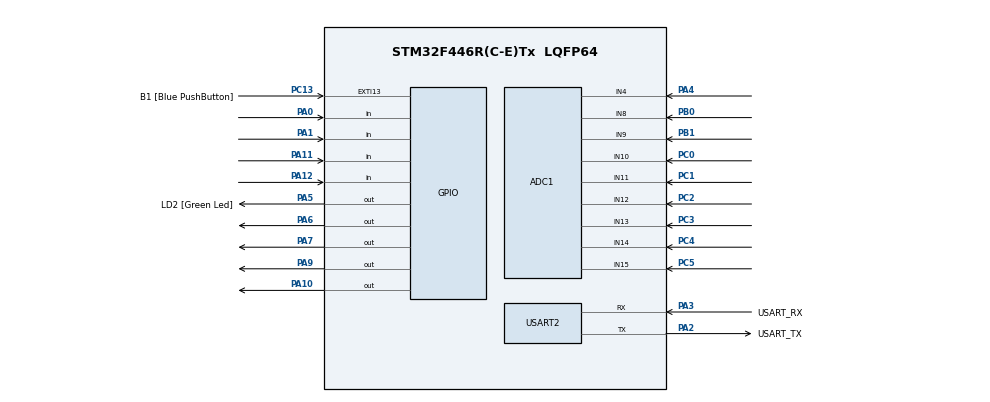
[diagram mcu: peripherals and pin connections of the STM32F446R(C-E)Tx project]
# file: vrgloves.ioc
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ADC1.Channel-0\#ChannelRegularConversion=ADC_CHANNEL_4
ADC1.Channel-1\#ChannelRegularConversion=ADC_CHANNEL_8
ADC1.Channel-2\#ChannelRegularConversion=ADC_CHANNEL_9
ADC1.Channel-3\#ChannelRegularConversion=ADC_CHANNEL_10
ADC1.Channel-4\#ChannelRegularConversion=ADC_CHANNEL_11
ADC1.Channel-5\#ChannelRegularConversion=ADC_CHANNEL_12
ADC1.Channel-6\#ChannelRegularConversion=ADC_CHANNEL_13
ADC1.Channel-7\#ChannelRegularConversion=ADC_CHANNEL_14
ADC1.Channel-8\#ChannelRegularConversion=ADC_CHANNEL_15
ADC1.ContinuousConvMode=DISABLE
ADC1.NbrOfConversion=9
ADC1.NbrOfConversionFlag=1
ADC1.Rank-0\#ChannelRegularConversion=1
ADC1.Rank-1\#ChannelRegularConversion=2
ADC1.Rank-2\#ChannelRegularConversion=3
ADC1.Rank-3\#ChannelRegularConversion=4
ADC1.Rank-4\#ChannelRegularConversion=5
ADC1.Rank-5\#ChannelRegularConversion=6
ADC1.Rank-6\#ChannelRegularConversion=7
ADC1.Rank-7\#ChannelRegularConversion=8
ADC1.Rank-8\#ChannelRegularConversion=9
ADC1.SamplingTime-0\#ChannelRegularConversion=ADC_SAMPLETIME_480CYCLES
ADC1.SamplingTime-1\#ChannelRegularConversion=ADC_SAMPLETIME_480CYCLES
ADC1.SamplingTime-2\#ChannelRegularConversion=ADC_SAMPLETIME_480CYCLES
ADC1.SamplingTime-3\#ChannelRegularConversion=ADC_SAMPLETIME_480CYCLES
ADC1.SamplingTime-4\#ChannelRegularConversion=ADC_SAMPLETIME_480CYCLES
ADC1.SamplingTime-5\#ChannelRegularConversion=ADC_SAMPLETIME_480CYCLES
ADC1.SamplingTime-6\#ChannelRegularConversion=ADC_SAMPLETIME_480CYCLES
ADC1.SamplingTime-7\#ChannelRegularConversion=ADC_SAMPLETIME_480CYCLES
ADC1.SamplingTime-8\#ChannelRegularConversion=ADC_SAMPLETIME_480CYCLES
ADC1.ScanConvMode=ENABLE
ADC1.master=1
Dma.ADC1.0.Direction=DMA_PERIPH_TO_MEMORY
Dma.ADC1.0.FIFOMode=DMA_FIFOMODE_DISABLE
Dma.ADC1.0.Instance=DMA2_Stream0
Dma.ADC1.0.MemDataAlignment=DMA_MDATAALIGN_HALFWORD
Dma.ADC1.0.MemInc=DMA_MINC_ENABLE
Dma.ADC1.0.Mode=DMA_CIRCULAR
Dma.ADC1.0.PeriphDataAlignment=DMA_PDATAALIGN_HALFWORD
Dma.ADC1.0.PeriphInc=DMA_PINC_DISABLE
Dma.ADC1.0.Priority=DMA_PRIORITY_LOW
Dma.Request0=ADC1
Mcu.Family=STM32F4
Mcu.Name=STM32F446R(C-E)Tx
Mcu.Package=LQFP64
NVIC.ADC_IRQn=true\:0\:0\:false\:false\:true\:true\:true\:true
NVIC.DMA2_Stream0_IRQn=true\:0\:0\:false\:false\:true\:false\:true\:true
NVIC.PriorityGroup=NVIC_PRIORITYGROUP_0
NVIC.TIM6_DAC_IRQn=true\:0\:0\:false\:false\:true\:true\:true\:true
NVIC.USART2_IRQn=true\:0\:0\:false\:false\:true\:true\:true\:true
PA0-WKUP.Signal=GPIO_Input
PA1.Signal=GPIO_Input
PA10.Signal=GPIO_Output
PA11.Signal=GPIO_Input
PA12.Signal=GPIO_Input
PA13.GPIO_Label=TMS
PA13.Mode=Serial_Wire
PA13.Signal=SYS_JTMS-SWDIO
PA14.GPIO_Label=TCK
PA14.Mode=Serial_Wire
PA14.Signal=SYS_JTCK-SWCLK
PA2.GPIO_Label=USART_TX
PA2.Mode=Asynchronous
PA2.Signal=USART2_TX
PA3.GPIO_Label=USART_RX
PA3.Mode=Asynchronous
PA3.Signal=USART2_RX
PA4.Signal=ADCx_IN4
PA5.GPIO_Label=LD2 [Green Led]
PA5.Signal=GPIO_Output
PA6.Signal=GPIO_Output
PA7.Signal=GPIO_Output
PA9.Signal=GPIO_Output
PB0.Signal=ADCx_IN8
PB1.Signal=ADCx_IN9
PB3.GPIO_Label=SWO
PB3.Signal=SYS_JTDO-SWO
PC0.Signal=ADCx_IN10
PC1.Signal=ADCx_IN11
PC13.GPIO_Label=B1 [Blue PushButton]
PC13.GPIO_ModeDefaultEXTI=GPIO_MODE_IT_FALLING
PC13.Signal=GPXTI13
PC14-OSC32_IN.Mode=LSE-External-Oscillator
PC14-OSC32_IN.Signal=RCC_OSC32_IN
PC15-OSC32_OUT.Mode=LSE-External-Oscillator
PC15-OSC32_OUT.Signal=RCC_OSC32_OUT
PC2.Signal=ADCx_IN12
PC3.Signal=ADCx_IN13
PC4.Signal=ADCx_IN14
PC5.Signal=ADCx_IN15
PH0-OSC_IN.Mode=HSE-External-Oscillator
PH0-OSC_IN.Signal=RCC_OSC_IN
PH1-OSC_OUT.Mode=HSE-External-Oscillator
PH1-OSC_OUT.Signal=RCC_OSC_OUT
ProjectManager.HeapSize=0x200
ProjectManager.StackSize=0x400
ProjectManager.TargetToolchain=STM32CubeIDE
RCC.48MHZClocksFreq_Value=84000000
RCC.AHBFreq_Value=84000000
RCC.APB1CLKDivider=RCC_HCLK_DIV2
RCC.APB1Freq_Value=42000000
RCC.APB1TimFreq_Value=84000000
RCC.APB2Freq_Value=84000000
RCC.APB2TimFreq_Value=84000000
RCC.CortexFreq_Value=84000000
RCC.FLatency-AdvancedSettings=FLASH_LATENCY_2
RCC.HCLKFreq_Value=84000000
RCC.HSE_VALUE=8000000
RCC.HSI_VALUE=16000000
RCC.PLLN=336
RCC.PLLP=RCC_PLLP_DIV4
RCC.SYSCLKFreq_VALUE=84000000
RCC.SYSCLKSource=RCC_SYSCLKSOURCE_PLLCLK
RCC.USBFreq_Value=168000000
RCC.VCOOutputFreq_Value=336000000
SH.ADCx_IN10.0=ADC1_IN10,IN10
SH.ADCx_IN11.0=ADC1_IN11,IN11
SH.ADCx_IN12.0=ADC1_IN12,IN12
SH.ADCx_IN13.0=ADC1_IN13,IN13
SH.ADCx_IN14.0=ADC1_IN14,IN14
SH.ADCx_IN15.0=ADC1_IN15,IN15
SH.ADCx_IN4.0=ADC1_IN4,IN4
SH.ADCx_IN8.0=ADC1_IN8,IN8
SH.ADCx_IN9.0=ADC1_IN9,IN9
TIM6.AutoReloadPreload=TIM_AUTORELOAD_PRELOAD_ENABLE
USART2.VirtualMode=VM_ASYNC
VP_TIM6_VS_ClockSourceINT.Mode=Enable_Timer
board=NUCLEO-F446RE

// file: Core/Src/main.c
/* USER CODE BEGIN Header */
/**
  ******************************************************************************
  * @file           : main.c
  * @brief          : Main program body
  ******************************************************************************
  * @attention
  *
  * Copyright (c) 2023 STMicroelectronics.
  * All rights reserved.
  *
  * This software is licensed under terms that can be found in the LICENSE file
  * in the root directory of this software component.
  * If no LICENSE file comes with this software, it is provided AS-IS.
  *
  ******************************************************************************
  */
/* USER CODE END Header */
#include "main.h"
#include "i2c.h"
#include <math.h>
#include <stdio.h>
#include<string.h>

/* USER CODE BEGIN PM */

#define IN1_PIN GPIO_PIN_6
#define IN1_PORT GPIOA
#define IN2_PIN GPIO_PIN_7
#define IN2_PORT GPIOA
#define IN3_PIN GPIO_PIN_9
#define IN3_PORT GPIOA
#define IN4_PIN GPIO_PIN_10
#define IN4_PORT GPIOA

/* USER CODE END PM */

ADC_HandleTypeDef hadc1;
DMA_HandleTypeDef hdma_adc1;

TIM_HandleTypeDef htim6;

UART_HandleTypeDef huart2;

/* USER CODE BEGIN PV */
uint32_t HAL_GetTick(void)
{
  return uwTick;
}
uint32_t millis;
/* USER CODE END PV */

void SystemClock_Config(void);
static void MX_GPIO_Init(void);
static void MX_DMA_Init(void);
static void MX_USART2_UART_Init(void);
static void MX_TIM6_Init(void);
static void MX_ADC1_Init(void);
/* USER CODE BEGIN PFP */
void dis(int val){
  HAL_GPIO_WritePin(GPIOA, GPIO_PIN_9, 2&val);
  HAL_GPIO_WritePin(GPIOA, GPIO_PIN_10, 1&val);
  HAL_GPIO_WritePin(GPIOA, GPIO_PIN_7, 4&val);
  HAL_GPIO_WritePin(GPIOA, GPIO_PIN_6, 8&val);
 }
/* USER CODE END PFP */

/* USER CODE BEGIN 0 */

void microDelay (uint16_t delay){
	  __HAL_TIM_SET_COUNTER(&htim6, 0);
	  while (__HAL_TIM_GET_COUNTER(&htim6) < delay);
	}

void stepCCV (int thisStep) // CCV - Counter Clockwise
{
	 switch (thisStep) {
	  case 0:
	        HAL_GPIO_WritePin(IN1_PORT, IN1_PIN, 1); // IN1
		    HAL_GPIO_WritePin(IN2_PORT, IN2_PIN, 0); // IN2
		    HAL_GPIO_WritePin(IN3_PORT, IN3_PIN, 1); // IN3
		    HAL_GPIO_WritePin(IN4_PORT, IN4_PIN, 0);
		    break;// IN4
		    //microDelay(delay);
	  case 1:
		    HAL_GPIO_WritePin(IN1_PORT, IN1_PIN, 0);   // IN1
		    HAL_GPIO_WritePin(IN2_PORT, IN2_PIN, 1);   //
		    HAL_GPIO_WritePin(IN3_PORT, IN3_PIN, 1); // IN3
		    HAL_GPIO_WritePin(IN4_PORT, IN4_PIN, 0);
		    break;// IN4
	  case 2:
		    HAL_GPIO_WritePin(IN1_PORT, IN1_PIN, 0); // IN1
		    HAL_GPIO_WritePin(IN2_PORT, IN2_PIN, 1);   // IN2
		    HAL_GPIO_WritePin(IN3_PORT, IN3_PIN, 0); // IN3
		    HAL_GPIO_WritePin(IN4_PORT, IN4_PIN, 1);
		    break;// IN4
	  case 3:
		    HAL_GPIO_WritePin(IN1_PORT, IN1_PIN, 1); // IN1
		    HAL_GPIO_WritePin(IN2_PORT, IN2_PIN, 0);   // IN2
		    HAL_GPIO_WritePin(IN3_PORT, IN3_PIN, 0);   // IN3
		    HAL_GPIO_WritePin(IN4_PORT, IN4_PIN, 1); // IN4
		    break;
	 }

  }

void clock(){
int n=10;
for (int i=0;i<n;i++){
	stepCCV(i%4);
HAL_Delay(10);
	  }
}

void anticlock(){
	for (int i=10;i>0;i--){
		stepCCV(i%4);
	HAL_Delay(10);
		  }
}

 // mpu6050 function for getting the accelerometer data
void  mpu6050(uint8_t *o){

	uint8_t g[2]= {0x6b,0};  // address of mpu6050 power management to wake from sleep mode
	uint8_t l[2]= {0x1c,0};   // address for acc sensor config
	uint8_t p=0x3b;          // address for acc sensor data

	// Getting accelerometer data from the mpu6050 *refer i2c.h file for i2c function
	  init3(0x68);
      write(0x68, (uint8_t*)&l, 2);
      write(0x68, (uint8_t*)&g, 2);
      write(0x68, (uint8_t*)&p, 1);
	  read(0x68,o,6);      // giving the address to read data register which deferance the
	                           // address and write data on j variable since its address given to o pointer
}

// mpu6050 function for getting gyro data
void mpu6050gyro(uint8_t *o){
	uint8_t g[2]= {0x6b,0};
	uint8_t l[2]= {0x1b,0}; // address for gyro config
	uint8_t p=0x43;   // address for gyro data

	// Getting gyro data from the mpu6050
		  init3(0x68);
		  write(0x68, (uint8_t*)&l, 2);
		  write(0x68, (uint8_t*)&g, 2);
	      write(0x68, (uint8_t*)&p, 1);
          read(0x68,o,6);
}

// Global variables for acc and gyro data
float  pitch;
float roll;
float yaw;
float de1;
float de;
float de2;
float gx;
float gy ;
float gz;

// Converting acc data to degrees
void acc(){
	int16_t  x,y,z; // 16 bit variables note : always use signed variables
	uint8_t j[6];
	mpu6050(&j);  // Getting data from mpu6050

	// Setting the sensitivity of x,y,z values
    x= (int16_t) (j[0]<<8|j[1]);
    gx = x/16384.0;

    y= j[2]<<8|j[3];
    gy = y/16384.0;

    z=j[4]<<8|j[5];
    gz = z/16384.0;

    // converting acc to radian
    pitch = sin(gy/sqrt((gx*gx)+(gz*gz)));
    roll = atan2 (gx,sqrt((gy*gy)+(gz*gz)));
    yaw = atan2(gx,gy);

    // converting radian to degree
  //  de =0;
    de = roll*180/3.14;
    de1  = (pitch-0.0010)*180/3.14;
    de2  = (yaw)*180/3.14;

}

float  gyrox,gyroy,gyroz; // gyro variables

void gyro(){
	  uint8_t s[6];
	  mpu6050gyro((uint8_t*)&s);

	  // getting gyro values
	  int16_t gyrox1  = (int16_t) (s[0]<<8| s[1]);
		       gyrox = (gyrox1/131.0);
	  int16_t gyroy1  = (int16_t) (s[2]<<8| s[3]);
		       gyroy = gyroy1/131.0;
	  int16_t gyroz1  = (int16_t) (s[4]<<8| s[5]);
		       gyroz = gyroz1/131.0;
}

float dout [2]; // Output of Kalman filters

                     //       Kalman Filter         //

void kalman(float kalman ,float uncertanity, float angleinput,float measurement ,float elapsed){
	 kalman = kalman +((elapsed/1000)*angleinput);
	 uncertanity = uncertanity + ((elapsed/1000)*((elapsed/1000)*16));
	 float kalmangain = uncertanity/(uncertanity+(9));
	 kalman = kalman + kalmangain*(measurement - kalman);
	 uncertanity = (1-kalmangain)*uncertanity;
	 dout[0] = kalman;
	 dout[1] = uncertanity;
}

char p[1];
/* USER CODE END 0 */

int main(void)
{
  /* USER CODE BEGIN 1 */
	float gyroxangle,gyroyangle,gyrozangle;
	   HAL_Init();
	   SystemClock_Config();
	   MX_GPIO_Init();
	   MX_USART2_UART_Init();
	   MX_TIM6_Init();
//dis(0);

for(int i=0;i<2000;i++){

	gyro();
	gyroxangle = gyroxangle+gyrox;
	gyroyangle = gyroyangle+gyroy;
	gyrozangle = gyrozangle+gyroz;

}

gyroxangle = gyroxangle/2000;
gyroyangle = gyroyangle/2000;
gyrozangle = gyrozangle/2000;

char q[90];
//char q1[90];
//char q2[90];
//char s[6];
//int degree1;
//int avg;
//float k=0.8;
//float kck2;
int flag = 1;
  /* USER CODE END 1 */

  /* MCU Configuration--------------------------------------------------------*/

  /* Reset of all peripherals, Initializes the Flash interface and the Systick. */
  HAL_Init();

  /* USER CODE BEGIN Init */
//int32_t n = HAL_GetTick();
  /* USER CODE END Init */

  /* Configure the system clock */
  SystemClock_Config();

  /* USER CODE BEGIN SysInit */
// uint32_t kck = HAL_GetTickFreq();
  /* USER CODE END SysInit */

  /* Initialize all configured peripherals */
  MX_GPIO_Init();
  MX_DMA_Init();
  MX_USART2_UART_Init();
  MX_TIM6_Init();
  MX_ADC1_Init();
  /* USER CODE BEGIN 2 */
  HAL_InitTick(10);

 /* USER CODE BEGIN Init */
//float gx ;
float kalpitch  = 0;
//float kalpitch1 = 0;
//float kalpitch2 = 0;
float kalroll =0;
float kalyaw = 0;
int  uncertain = 4;
int uncertainroll = 4;
int uncertainyaw = 0;
  /* USER CODE END 2 */

  /* Infinite loop */
  /* USER CODE BEGIN WHILE */
  uint32_t cmp=0;
//  float yaw;
//  float yawpos;
  //float yawneg;
  uint16_t adc[9];
  uint16_t adc1[9];
 // uint16_t induc;
  float gyroval;
  // taking 2000 sample  values
  float h[9];

 // int high[9];

  float degeer[11];
  HAL_TIM_Base_Start(&htim6);
 // microDelay(50);

  HAL_ADC_Start_DMA(&hadc1,(uint16_t*) &adc1, 9);
  for (int i=0;i<9;i++){
  // high[i] = adc1[i] + high[i];
   h[i] = (adc1[i]/90);
  }
/*
for(int i=0;i<9;i++){
//	high[i] = high[i]/9;
	h[i] = 3500/90;
}

*/
int  elapsed;
//int prev;

  while (1)
  {

uint32_t n=0;
n = HAL_GetTick();
elapsed = n- cmp;
cmp=n;
float mul[3];
float mulgyro[3];
//int prev;

	          	     	     acc();
	          	  	       	 mul[0] = de;
                             mul[1] = de1;
                             mul[2] = de2;

                             gyro();
	          	   	         mulgyro[0] = gyrox-gyroxangle;
	                 	     mulgyro[1] = gyroy-gyroyangle;
	          	             mulgyro[2] = gyroz-gyrozangle;
	          	         //  mulgyro[1]=0;

                  kalman ( kalpitch, uncertain, mulgyro[0], mul[1],elapsed);
                  kalpitch = dout[0];
                  uncertain = dout[1];
                  kalman(kalroll, uncertainroll, mulgyro[1], mul[0], elapsed);
                  kalroll = dout[0];
                  uncertainroll = dout[1];
                  kalman(kalyaw, uncertainyaw, mulgyro[2], mul[2], elapsed);
                  kalyaw = dout[0];
                  uncertainyaw = dout[1];
               /*
                 yaw = kalyaw;
                 if (kalyaw >yaw){
                	 yawpos = kalyaw - yaw;
                 }
                 if (kalyaw<yaw){
                	 yawpos = yaw + kalyaw;
                 }
               */
             degeer[9] = kalpitch;
             degeer[10] = kalroll;

             HAL_ADC_Start_DMA(&hadc1,(uint16_t*)&adc1, 9);

          	 for (int i=0;i<9;i++){
          	  degeer[i] = adc1[i]/h[i];
          	 }

          	for (int i=0;i<11;i++){
          		  sprintf(q,"%.3f\r\n,",degeer[i]);
          	  	  HAL_UART_Transmit(&huart2, q, strlen(q), 10);
          	}
          	HAL_UART_Receive(&huart2, p, 1, 10);

            if (p[0]=='1'){
              if (flag < 2){
                 clock();
                 flag = flag + 1;
                           }
                }
           if (p[0]=='0'){
          	 if (flag > 1){
  	        	anticlock();
  	 	        flag = flag - 1 ;
                           }
                  }

   HAL_Delay(3);

   /*
//p[0] = '0';

	         sprintf(q,"%.3f,",kalpitch);
	         HAL_UART_Transmit(&huart2, q, strlen(q), 10);
	         sprintf(q,"%.3f,",kalroll);
	         HAL_UART_Transmit(&huart2, q, strlen(q), 10);

	 //                      Alternate sensor                      //

	     //   HAL_GPIO_WritePin(IN1_PORT, IN1_PIN, 1);

         //  HAL_GPIO_WritePin(GPIOA, GPIO_PIN_6, 1);
        //sprintf(q,"%d\r\n",a);

//HAL_ADC_Start_DMA(&hadc1,&induc, 9);
//sprintf(q,"%.3f\r\n" ,induc);
//HAL_UART_Transmit(&huart2, q, strlen(q), 10);
//

	    //  gyroval =  gyroval  + (0.009 * mulgyro[0]);

      //  sprintf(q,"%d\r\n",elapsed);

	   //    HAL_UART_Transmit(&huart2, q, strlen(q), 10);
	     //   sprintf(q,"%.3f\r\n",-kalpitch2);

	       //      HAL_UART_Transmit(&huart2, q, strlen(q), 10);

    /* USER CODE END WHILE */

  }

}

 void SystemClock_Config(void)
{
  RCC_OscInitTypeDef RCC_OscInitStruct = {0};
  RCC_ClkInitTypeDef RCC_ClkInitStruct = {0};

  /** Configure the main internal regulator output voltage
  */
  __HAL_RCC_PWR_CLK_ENABLE();
  __HAL_PWR_VOLTAGESCALING_CONFIG(PWR_REGULATOR_VOLTAGE_SCALE3);

  /** Initializes the RCC Oscillators according to the specified parameters
  * in the RCC_OscInitTypeDef structure.
  */
  RCC_OscInitStruct.OscillatorType = RCC_OSCILLATORTYPE_HSI;
  RCC_OscInitStruct.HSIState = RCC_HSI_ON;
  RCC_OscInitStruct.HSICalibrationValue = RCC_HSICALIBRATION_DEFAULT;
  RCC_OscInitStruct.PLL.PLLState = RCC_PLL_ON;
  RCC_OscInitStruct.PLL.PLLSource = RCC_PLLSOURCE_HSI;
  RCC_OscInitStruct.PLL.PLLM = 16;
  RCC_OscInitStruct.PLL.PLLN = 336;
  RCC_OscInitStruct.PLL.PLLP = RCC_PLLP_DIV4;
  RCC_OscInitStruct.PLL.PLLQ = 2;
  RCC_OscInitStruct.PLL.PLLR = 2;
  if (HAL_RCC_OscConfig(&RCC_OscInitStruct) != HAL_OK)
  {
    Error_Handler();
  }

  /** Initializes the CPU, AHB and APB buses clocks
  */
  RCC_ClkInitStruct.ClockType = RCC_CLOCKTYPE_HCLK|RCC_CLOCKTYPE_SYSCLK
                              |RCC_CLOCKTYPE_PCLK1|RCC_CLOCKTYPE_PCLK2;
  RCC_ClkInitStruct.SYSCLKSource = RCC_SYSCLKSOURCE_PLLCLK;
  RCC_ClkInitStruct.AHBCLKDivider = RCC_SYSCLK_DIV1;
  RCC_ClkInitStruct.APB1CLKDivider = RCC_HCLK_DIV2;
  RCC_ClkInitStruct.APB2CLKDivider = RCC_HCLK_DIV1;

  if (HAL_RCC_ClockConfig(&RCC_ClkInitStruct, FLASH_LATENCY_2) != HAL_OK)
  {
    Error_Handler();
  }
}

static void MX_ADC1_Init(void)
{

  ADC_ChannelConfTypeDef sConfig = {0};

  /** Configure the global features of the ADC (Clock, Resolution, Data Alignment and number of conversion)
  */
  hadc1.Instance = ADC1;
  hadc1.Init.ClockPrescaler = ADC_CLOCK_SYNC_PCLK_DIV4;
  hadc1.Init.Resolution = ADC_RESOLUTION_12B;
  hadc1.Init.ScanConvMode = ENABLE;
  hadc1.Init.ContinuousConvMode = DISABLE;
  hadc1.Init.DiscontinuousConvMode = DISABLE;
  hadc1.Init.ExternalTrigConvEdge = ADC_EXTERNALTRIGCONVEDGE_NONE;
  hadc1.Init.ExternalTrigConv = ADC_SOFTWARE_START;
  hadc1.Init.DataAlign = ADC_DATAALIGN_RIGHT;
  hadc1.Init.NbrOfConversion = 9;
  hadc1.Init.DMAContinuousRequests = DISABLE;
  hadc1.Init.EOCSelection = ADC_EOC_SINGLE_CONV;
  if (HAL_ADC_Init(&hadc1) != HAL_OK)
  {
    Error_Handler();
  }

  /** Configure for the selected ADC regular channel its corresponding rank in the sequencer and its sample time.
  */
  sConfig.Channel = ADC_CHANNEL_4;
  sConfig.Rank = 1;
  sConfig.SamplingTime = ADC_SAMPLETIME_480CYCLES;
  if (HAL_ADC_ConfigChannel(&hadc1, &sConfig) != HAL_OK)
  {
    Error_Handler();
  }

  /** Configure for the selected ADC regular channel its corresponding rank in the sequencer and its sample time.
  */
  sConfig.Channel = ADC_CHANNEL_8;
  sConfig.Rank = 2;
  if (HAL_ADC_ConfigChannel(&hadc1, &sConfig) != HAL_OK)
  {
    Error_Handler();
  }

  /** Configure for the selected ADC regular channel its corresponding rank in the sequencer and its sample time.
  */
  sConfig.Channel = ADC_CHANNEL_9;
  sConfig.Rank = 3;
  if (HAL_ADC_ConfigChannel(&hadc1, &sConfig) != HAL_OK)
  {
    Error_Handler();
  }

  /** Configure for the selected ADC regular channel its corresponding rank in the sequencer and its sample time.
  */
  sConfig.Channel = ADC_CHANNEL_10;
  sConfig.Rank = 4;
  if (HAL_ADC_ConfigChannel(&hadc1, &sConfig) != HAL_OK)
  {
    Error_Handler();
  }

  /** Configure for the selected ADC regular channel its corresponding rank in the sequencer and its sample time.
  */
  sConfig.Channel = ADC_CHANNEL_11;
  sConfig.Rank = 5;
  if (HAL_ADC_ConfigChannel(&hadc1, &sConfig) != HAL_OK)
  {
    Error_Handler();
  }

  /** Configure for the selected ADC regular channel its corresponding rank in the sequencer and its sample time.
  */
  sConfig.Channel = ADC_CHANNEL_12;
  sConfig.Rank = 6;
  if (HAL_ADC_ConfigChannel(&hadc1, &sConfig) != HAL_OK)
  {
    Error_Handler();
  }

  /** Configure for the selected ADC regular channel its corresponding rank in the sequencer and its sample time.
  */
  sConfig.Channel = ADC_CHANNEL_13;
  sConfig.Rank = 7;
  if (HAL_ADC_ConfigChannel(&hadc1, &sConfig) != HAL_OK)
  {
    Error_Handler();
  }

  /** Configure for the selected ADC regular channel its corresponding rank in the sequencer and its sample time.
  */
  sConfig.Channel = ADC_CHANNEL_14;
  sConfig.Rank = 8;
  if (HAL_ADC_ConfigChannel(&hadc1, &sConfig) != HAL_OK)
  {
    Error_Handler();
  }

  /** Configure for the selected ADC regular channel its corresponding rank in the sequencer and its sample time.
  */
  sConfig.Channel = ADC_CHANNEL_15;
  sConfig.Rank = 9;
  if (HAL_ADC_ConfigChannel(&hadc1, &sConfig) != HAL_OK)
  {
    Error_Handler();
  }

}

static void MX_TIM6_Init(void)
{

  TIM_MasterConfigTypeDef sMasterConfig = {0};

  htim6.Instance = TIM6;
  htim6.Init.Prescaler = 0;
  htim6.Init.CounterMode = TIM_COUNTERMODE_UP;
  htim6.Init.Period = 65535;
  htim6.Init.AutoReloadPreload = TIM_AUTORELOAD_PRELOAD_ENABLE;
  if (HAL_TIM_Base_Init(&htim6) != HAL_OK)
  {
    Error_Handler();
  }
  sMasterConfig.MasterOutputTrigger = TIM_TRGO_RESET;
  sMasterConfig.MasterSlaveMode = TIM_MASTERSLAVEMODE_DISABLE;
  if (HAL_TIMEx_MasterConfigSynchronization(&htim6, &sMasterConfig) != HAL_OK)
  {
    Error_Handler();
  }

}

static void MX_USART2_UART_Init(void)
{

  huart2.Instance = USART2;
  huart2.Init.BaudRate = 9600;
  huart2.Init.WordLength = UART_WORDLENGTH_8B;
  huart2.Init.StopBits = UART_STOPBITS_1;
  huart2.Init.Parity = UART_PARITY_NONE;
  huart2.Init.Mode = UART_MODE_TX_RX;
  huart2.Init.HwFlowCtl = UART_HWCONTROL_NONE;
  huart2.Init.OverSampling = UART_OVERSAMPLING_16;
  if (HAL_UART_Init(&huart2) != HAL_OK)
  {
    Error_Handler();
  }

}

static void MX_DMA_Init(void)
{

  /* DMA controller clock enable */
  __HAL_RCC_DMA2_CLK_ENABLE();

  /* DMA interrupt init */
  /* DMA2_Stream0_IRQn interrupt configuration */
  HAL_NVIC_SetPriority(DMA2_Stream0_IRQn, 0, 0);
  HAL_NVIC_EnableIRQ(DMA2_Stream0_IRQn);

}

static void MX_GPIO_Init(void)
{
  GPIO_InitTypeDef GPIO_InitStruct = {0};

  /* GPIO Ports Clock Enable */
  __HAL_RCC_GPIOC_CLK_ENABLE();
  __HAL_RCC_GPIOH_CLK_ENABLE();
  __HAL_RCC_GPIOA_CLK_ENABLE();
  __HAL_RCC_GPIOB_CLK_ENABLE();

  /*Configure GPIO pin Output Level */
  HAL_GPIO_WritePin(GPIOA, LD2_Pin|GPIO_PIN_6|GPIO_PIN_7|GPIO_PIN_9
                          |GPIO_PIN_10, GPIO_PIN_RESET);

  /*Configure GPIO pin : B1_Pin */
  GPIO_InitStruct.Pin = B1_Pin;
  GPIO_InitStruct.Mode = GPIO_MODE_IT_FALLING;
  GPIO_InitStruct.Pull = GPIO_NOPULL;
  HAL_GPIO_Init(B1_GPIO_Port, &GPIO_InitStruct);

  /*Configure GPIO pins : PA0 PA1 PA11 PA12 */
  GPIO_InitStruct.Pin = GPIO_PIN_0|GPIO_PIN_1|GPIO_PIN_11|GPIO_PIN_12;
  GPIO_InitStruct.Mode = GPIO_MODE_INPUT;
  GPIO_InitStruct.Pull = GPIO_NOPULL;
  HAL_GPIO_Init(GPIOA, &GPIO_InitStruct);

  /*Configure GPIO pins : LD2_Pin PA6 PA7 PA9
                           PA10 */
  GPIO_InitStruct.Pin = LD2_Pin|GPIO_PIN_6|GPIO_PIN_7|GPIO_PIN_9
                          |GPIO_PIN_10;
  GPIO_InitStruct.Mode = GPIO_MODE_OUTPUT_PP;
  GPIO_InitStruct.Pull = GPIO_NOPULL;
  GPIO_InitStruct.Speed = GPIO_SPEED_FREQ_LOW;
  HAL_GPIO_Init(GPIOA, &GPIO_InitStruct);

}

void Error_Handler(void)
{
  __disable_irq();
  while (1)
  {
  }
}
